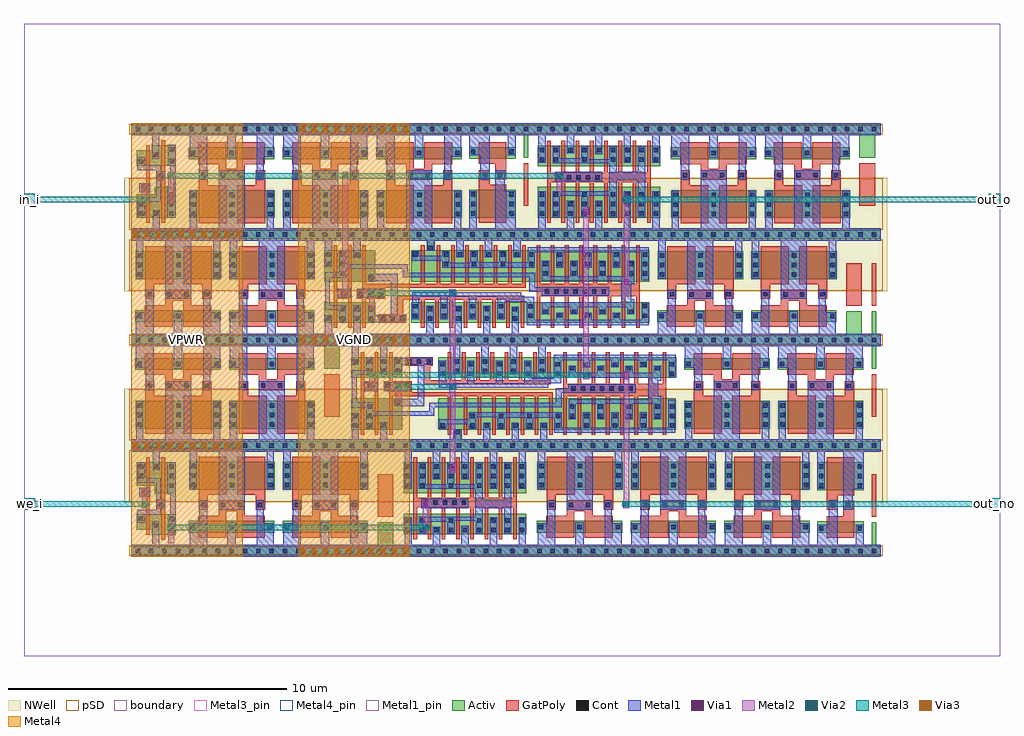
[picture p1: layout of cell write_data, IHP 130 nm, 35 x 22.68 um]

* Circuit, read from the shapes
.subckt write_data VGND VPWR in_i out_no out_o we_i
XM1 VGND VPWR VGND VGND sg13_lv_nmos w=0.42u l=1u m=38
XM2 VGND we_i n1 VGND sg13_lv_nmos w=0.55u l=0.13u
XM3 VGND in_i n2 VGND sg13_lv_nmos w=0.55u l=0.13u
XM4 sg13cmos5l_inv_8$1_28/A n1 VGND VGND sg13_lv_nmos w=0.74u l=0.13u
XM5 sg13cmos5l_ebufn_8_33/A n2 VGND VGND sg13_lv_nmos w=0.74u l=0.13u
XM6 n3 sg13cmos5l_ebufn_8_33/A VGND VGND sg13_lv_nmos w=0.74u l=0.13u m=2
XM7 n4 sg13cmos5l_ebufn_8_32/A VGND VGND sg13_lv_nmos w=0.74u l=0.13u m=2
XM8 n5 sg13cmos5l_ebufn_8_32/TE_B VGND VGND sg13_lv_nmos w=0.74u l=0.13u
XM9 n6 sg13cmos5l_ebufn_8_32/TE_B VGND VGND sg13_lv_nmos w=0.74u l=0.13u
XM10 sg13cmos5l_ebufn_8_32/TE_B sg13cmos5l_inv_8$1_28/A VGND VGND sg13_lv_nmos w=0.74u l=0.13u m=8
XM11 VGND n5 n7 VGND sg13_lv_nmos w=0.74u l=0.13u m=8
XM12 VGND n6 n8 VGND sg13_lv_nmos w=0.74u l=0.13u m=8
XM13 out_o n3 n7 VGND sg13_lv_nmos w=0.74u l=0.13u m=8
XM14 sg13cmos5l_ebufn_8_32/A sg13cmos5l_ebufn_8_33/A VGND VGND sg13_lv_nmos w=0.74u l=0.13u m=8
XM15 out_no n4 n8 VGND sg13_lv_nmos w=0.74u l=0.13u m=8
XM16 VPWR VGND VPWR VPWR sg13_lv_pmos w=1u l=1u m=38
XM17 VPWR we_i n1 VPWR sg13_lv_pmos w=0.84u l=0.13u
XM18 VPWR in_i n2 VPWR sg13_lv_pmos w=0.84u l=0.13u
XM19 sg13cmos5l_inv_8$1_28/A n1 VPWR VPWR sg13_lv_pmos w=1.12u l=0.13u
XM20 sg13cmos5l_ebufn_8_33/A n2 VPWR VPWR sg13_lv_pmos w=1.12u l=0.13u
XM21 n3 sg13cmos5l_ebufn_8_33/A VPWR VPWR sg13_lv_pmos w=1.12u l=0.13u m=2
XM22 n4 sg13cmos5l_ebufn_8_32/A VPWR VPWR sg13_lv_pmos w=1.12u l=0.13u m=2
XM23 n5 sg13cmos5l_ebufn_8_32/TE_B VPWR VPWR sg13_lv_pmos w=1.12u l=0.13u
XM24 n6 sg13cmos5l_ebufn_8_32/TE_B VPWR VPWR sg13_lv_pmos w=1.12u l=0.13u
XM25 sg13cmos5l_ebufn_8_32/TE_B sg13cmos5l_inv_8$1_28/A VPWR VPWR sg13_lv_pmos w=1.12u l=0.13u m=8
XM26 VPWR sg13cmos5l_ebufn_8_32/TE_B n9 VPWR sg13_lv_pmos w=1.12u l=0.13u m=8
XM27 VPWR sg13cmos5l_ebufn_8_32/TE_B n10 VPWR sg13_lv_pmos w=1.12u l=0.13u m=8
XM28 out_o n3 n9 VPWR sg13_lv_pmos w=1.12u l=0.13u m=8
XM29 sg13cmos5l_ebufn_8_32/A sg13cmos5l_ebufn_8_33/A VPWR VPWR sg13_lv_pmos w=1.12u l=0.13u m=8
XM30 out_no n4 n10 VPWR sg13_lv_pmos w=1.12u l=0.13u m=8
.ends

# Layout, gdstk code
from math import pi, radians
import gdstk
lib = gdstk.Library(unit=1e-6, precision=1e-09)
def R(c, l, rs):  # rectangles x0, y0, x1, y1
    for r in rs: c.add(gdstk.rectangle(r[:2], r[2:], *l))
def A(c, l, x, y, w, h, nx, ny, dx, dy):  # array of equal rectangles
    R(c, l, [(x+i*dx, y+j*dy, x+i*dx+w, y+j*dy+h) for i in range(nx) for j in range(ny)])
def P(c, l, *ps):  # polygons
    for p in ps: c.add(gdstk.Polygon(p, *l))
Activ = (1, 0)
GatPoly = (5, 0)
Cont = (6, 0)
Metal1 = (8, 0)
Metal1_pin = (8, 2)
Metal2 = (10, 0)
pSD = (14, 0)
Via1 = (19, 0)
Via2 = (29, 0)
Metal3 = (30, 0)
Metal3_pin = (30, 2)
NWell = (31, 0)
Via3 = (49, 0)
Metal4 = (50, 0)
Metal4_pin = (50, 2)
boundary = (189, 4)

sg13cmos5l_decap_8_2 = lib.new_cell('sg13cmos5l_decap_8$2')
R(sg13cmos5l_decap_8_2, Activ, [(0,-0.15,3.36,0.15), (0.155,0.65,3.215,1.07), (0.165,2.185,3.225,3.185), (0,3.63,3.36,3.93)])
P(sg13cmos5l_decap_8_2, GatPoly, [(0.495,0.47),(0.495,1.25),(1.22,1.25),(1.22,1.805),(2.155,1.805),(2.155,1.25),(2.875,1.25),(2.875,0.47),(1.875,0.47),(1.875,1.415),(1.495,1.415),(1.495,0.47)],
  [(2.555,1.48),(2.555,2.005),(1.885,2.005),(1.885,3.365),(2.885,3.365),(2.885,1.48)],
  [(0.505,1.48),(0.505,3.365),(1.505,3.365),(1.505,2.005),(0.835,2.005),(0.835,1.48)])
A(sg13cmos5l_decap_8_2, Cont, 0.16, -0.08, 0.16, 0.16, 7, 2, 0.48, 3.78)
A(sg13cmos5l_decap_8_2, Cont, 0.225, 0.78, 0.16, 0.16, 3, 1, 1.38, 0)
A(sg13cmos5l_decap_8_2, Cont, 0.235, 2.275, 0.16, 0.16, 3, 3, 1.38, 0.34)
R(sg13cmos5l_decap_8_2, Cont, [(1.3,1.555,1.46,1.715), (1.905,1.555,2.065,1.715), (0.59,1.56,0.75,1.72), (2.63,1.56,2.79,1.72)])
P(sg13cmos5l_decap_8_2, Metal1, [(0,-0.22),(0,0.22),(0.175,0.22),(0.175,0.99),(0.52,0.99),(0.52,1.81),(0.81,1.81),(0.81,0.22),(1.53,0.22),(1.53,1.03),(1.835,1.03),(1.835,0.22),(2.585,0.22),(2.585,1.81),(2.835,1.81),(2.835,0.99),(3.195,0.99),(3.195,0.22),(3.36,0.22),(3.36,-0.22)],
  [(1.22,1.475),(1.22,3.56),(0.445,3.56),(0.445,2.205),(0.185,2.205),(0.185,3.56),(0,3.56),(0,4),(3.36,4),(3.36,3.56),(3.205,3.56),(3.205,2.21),(2.945,2.21),(2.945,3.56),(2.155,3.56),(2.155,1.475)])
R(sg13cmos5l_decap_8_2, Metal1_pin, [(0,-0.22,3.36,0.22), (0,3.56,3.36,4)])
R(sg13cmos5l_decap_8_2, pSD, [(-0.07,-0.18,3.43,0.18), (-0.07,1.76,3.43,3.6)])
R(sg13cmos5l_decap_8_2, NWell, [(-0.24,1.75,3.6,4.17)])
R(sg13cmos5l_decap_8_2, boundary, [(0,0,3.36,3.78)])
sg13cmos5l_decap_8_2.add(gdstk.Label('VDD', (1.68,3.78), layer=8, texttype=25))
sg13cmos5l_decap_8_2.add(gdstk.Label('VSS', (1.68,0), layer=8, texttype=25))

sg13cmos5l_fill_2_2 = lib.new_cell('sg13cmos5l_fill_2$2')
R(sg13cmos5l_fill_2_2, Activ, [(0,-0.15,0.96,0.15), (0.2,0.15,0.76,1.03), (0,3.63,0.96,3.93)])
R(sg13cmos5l_fill_2_2, GatPoly, [(0.2,1.23,0.76,2.75)])
R(sg13cmos5l_fill_2_2, Cont, [(0.16,-0.08,0.32,0.08), (0.16,-0.08,0.32,0.08), (0.64,-0.08,0.8,0.08), (0.64,-0.08,0.8,0.08), (0.16,3.7,0.32,3.86), (0.16,3.7,0.32,3.86), (0.64,3.7,0.8,3.86), (0.64,3.7,0.8,3.86)])
R(sg13cmos5l_fill_2_2, Metal1, [(0,-0.22,0.96,0.22), (0,3.56,0.96,4)])
R(sg13cmos5l_fill_2_2, Metal1_pin, [(0,-0.22,0.96,0.22), (0,3.56,0.96,4)])
R(sg13cmos5l_fill_2_2, pSD, [(-0.07,-0.18,1.03,0.18), (-0.07,1.76,1.03,3.6)])
R(sg13cmos5l_fill_2_2, NWell, [(-0.24,1.75,1.2,4.17)])
R(sg13cmos5l_fill_2_2, boundary, [(0,0,0.96,3.78)])
sg13cmos5l_fill_2_2.add(gdstk.Label('VSS', (0.49,0), layer=8, texttype=25))
sg13cmos5l_fill_2_2.add(gdstk.Label('VDD', (0.495,3.78), layer=8, texttype=25))

sg13cmos5l_decap_4_2 = lib.new_cell('sg13cmos5l_decap_4$2')
R(sg13cmos5l_decap_4_2, Activ, [(0,-0.15,1.92,0.15), (0.12,0.645,1.8,1.065), (0.12,2.18,1.8,3.18), (0,3.63,1.92,3.93)])
P(sg13cmos5l_decap_4_2, GatPoly, [(0.46,1.475),(0.46,3.36),(1.46,3.36),(1.46,2),(0.855,2),(0.855,1.475)],
  [(0.46,0.465),(0.46,1.245),(1.065,1.245),(1.065,1.8),(1.46,1.8),(1.46,0.465)])
A(sg13cmos5l_decap_4_2, Cont, 0.16, -0.08, 0.16, 0.16, 4, 2, 0.48, 3.78)
A(sg13cmos5l_decap_4_2, Cont, 0.19, 2.27, 0.16, 0.16, 1, 3, 0, 0.34)
A(sg13cmos5l_decap_4_2, Cont, 1.57, 2.27, 0.16, 0.16, 1, 3, 0, 0.34)
R(sg13cmos5l_decap_4_2, Cont, [(0.19,0.72,0.35,0.88), (1.57,0.72,1.73,0.88), (1.15,1.555,1.31,1.715), (0.61,1.56,0.77,1.72)])
P(sg13cmos5l_decap_4_2, Metal1, [(0,-0.22),(0,0.22),(0.13,0.22),(0.13,0.935),(0.53,0.935),(0.53,1.805),(0.855,1.805),(0.855,0.22),(1.51,0.22),(1.51,0.935),(1.79,0.935),(1.79,0.22),(1.92,0.22),(1.92,-0.22)],
  [(1.065,1.47),(1.065,3.56),(0.4,3.56),(0.4,2.22),(0.13,2.22),(0.13,3.56),(0,3.56),(0,4),(1.92,4),(1.92,3.56),(1.79,3.56),(1.79,2.22),(1.405,2.22),(1.405,1.47)])
R(sg13cmos5l_decap_4_2, Metal1_pin, [(0,-0.22,1.92,0.22), (0,3.56,1.92,4)])
R(sg13cmos5l_decap_4_2, pSD, [(-0.07,-0.18,1.99,0.18), (-0.16,1.76,1.99,3.6)])
R(sg13cmos5l_decap_4_2, NWell, [(-0.24,1.75,2.16,4.17)])
R(sg13cmos5l_decap_4_2, boundary, [(0,0,1.92,3.78)])
sg13cmos5l_decap_4_2.add(gdstk.Label('VDD', (0.95,3.78), layer=8, texttype=25))
sg13cmos5l_decap_4_2.add(gdstk.Label('VSS', (1.08,0), layer=8, texttype=25))

sg13cmos5l_fill_1_2 = lib.new_cell('sg13cmos5l_fill_1$2')
R(sg13cmos5l_fill_1_2, Activ, [(0,-0.15,0.48,0.15), (0.16,0.15,0.32,1.03), (0,3.63,0.48,3.93)])
R(sg13cmos5l_fill_1_2, GatPoly, [(0.16,1.23,0.32,2.75)])
R(sg13cmos5l_fill_1_2, Cont, [(0.16,-0.08,0.32,0.08), (0.16,-0.08,0.32,0.08), (0.16,3.7,0.32,3.86), (0.16,3.7,0.32,3.86)])
R(sg13cmos5l_fill_1_2, Metal1, [(0,-0.22,0.48,0.22), (0,3.56,0.48,4)])
R(sg13cmos5l_fill_1_2, Metal1_pin, [(0,-0.22,0.48,0.22), (0,3.56,0.48,4)])
R(sg13cmos5l_fill_1_2, pSD, [(-0.07,-0.18,0.55,0.18), (-0.07,1.76,0.55,3.6)])
R(sg13cmos5l_fill_1_2, NWell, [(-0.24,1.75,0.72,4.17)])
R(sg13cmos5l_fill_1_2, boundary, [(0,0,0.48,3.78)])
sg13cmos5l_fill_1_2.add(gdstk.Label('VDD', (0.245,3.785), layer=8, texttype=25))
sg13cmos5l_fill_1_2.add(gdstk.Label('VSS', (0.255,0), layer=8, texttype=25))

sg13cmos5l_inv_8_1 = lib.new_cell('sg13cmos5l_inv_8$1')
R(sg13cmos5l_inv_8_1, Activ, [(0,-0.15,4.8,0.15), (0.185,0.59,4.575,1.33), (0.185,2.06,4.575,3.18), (0,3.63,4.8,3.93)])
P(sg13cmos5l_inv_8_1, GatPoly, [(0.525,0.41),(0.525,3.36),(0.655,3.36),(0.655,1.9),(1.035,1.9),(1.035,3.36),(1.165,3.36),(1.165,1.9),(1.545,1.9),(1.545,3.36),(1.675,3.36),(1.675,1.9),(2.055,1.9),(2.055,3.36),(2.185,3.36),(2.185,1.9),(2.565,1.9),(2.565,3.36),(2.695,3.36),(2.695,1.9),(3.075,1.9),(3.075,3.36),(3.205,3.36),(3.205,1.9),(3.585,1.9),(3.585,3.36),(3.715,3.36),(3.715,1.9),(4.105,1.9),(4.105,3.36),(4.235,3.36),(4.235,0.41),(4.105,0.41),(4.105,1.57),(3.715,1.57),(3.715,0.41),(3.585,0.41),(3.585,1.57),(3.205,1.57),(3.205,0.41),(3.075,0.41),(3.075,1.57),(2.695,1.57),(2.695,0.41),(2.565,0.41),(2.565,1.57),(2.185,1.57),(2.185,0.41),(2.055,0.41),(2.055,1.57),(1.675,1.57),(1.675,0.41),(1.545,0.41),(1.545,1.57),(1.165,1.57),(1.165,0.41),(1.035,0.41),(1.035,1.57),(0.655,1.57),(0.655,0.41)])
A(sg13cmos5l_inv_8_1, Cont, 0.255, 0.66, 0.16, 0.16, 8, 2, 0.51, 1.95)
A(sg13cmos5l_inv_8_1, Cont, 0.765, 1, 0.16, 0.16, 3, 2, 1.02, 1.27)
A(sg13cmos5l_inv_8_1, Cont, 0.89, 1.655, 0.16, 0.16, 5, 1, 0.34, 0)
A(sg13cmos5l_inv_8_1, Cont, 4.345, 2.27, 0.16, 0.16, 1, 3, 0, 0.34)
A(sg13cmos5l_inv_8_1, Cont, 0.255, 2.95, 0.16, 0.16, 8, 1, 0.51, 0)
R(sg13cmos5l_inv_8_1, Cont, [(0.16,-0.08,0.32,0.08), (0.16,-0.08,0.32,0.08), (0.64,-0.08,0.8,0.08), (0.64,-0.08,0.8,0.08), (1.12,-0.08,1.28,0.08), (1.12,-0.08,1.28,0.08), (1.6,-0.08,1.76,0.08), (1.6,-0.08,1.76,0.08), (2.08,-0.08,2.24,0.08), (2.08,-0.08,2.24,0.08), (2.56,-0.08,2.72,0.08), (2.56,-0.08,2.72,0.08), (3.04,-0.08,3.2,0.08), (3.04,-0.08,3.2,0.08), (3.52,-0.08,3.68,0.08), (3.52,-0.08,3.68,0.08), (4,-0.08,4.16,0.08), (4,-0.08,4.16,0.08), (4.48,-0.08,4.64,0.08), (4.48,-0.08,4.64,0.08), (4.345,0.66,4.505,0.82), (0.255,1,0.415,1.16), (3.315,1,3.475,1.16), (3.825,1,3.985,1.16), (4.345,1,4.505,1.16), (0.255,2.27,0.415,2.43), (3.315,2.27,3.475,2.43), (3.825,2.27,3.985,2.43), (0.16,3.7,0.32,3.86), (0.16,3.7,0.32,3.86), (0.64,3.7,0.8,3.86), (0.64,3.7,0.8,3.86), (1.12,3.7,1.28,3.86), (1.12,3.7,1.28,3.86), (1.6,3.7,1.76,3.86), (1.6,3.7,1.76,3.86), (2.08,3.7,2.24,3.86), (2.08,3.7,2.24,3.86), (2.56,3.7,2.72,3.86), (2.56,3.7,2.72,3.86), (3.04,3.7,3.2,3.86), (3.04,3.7,3.2,3.86), (3.52,3.7,3.68,3.86), (3.52,3.7,3.68,3.86), (4,3.7,4.16,3.86), (4,3.7,4.16,3.86), (4.48,3.7,4.64,3.86), (4.48,3.7,4.64,3.86)])
R(sg13cmos5l_inv_8_1, Metal1, [(0.805,1.535,2.495,1.865)])
P(sg13cmos5l_inv_8_1, Metal1, [(0,-0.22),(0,0.22),(0.205,0.22),(0.205,1.21),(0.465,1.21),(0.465,0.22),(1.225,0.22),(1.225,0.87),(1.485,0.87),(1.485,0.22),(2.245,0.22),(2.245,0.89),(2.505,0.89),(2.505,0.22),(3.265,0.22),(3.265,1.21),(3.525,1.21),(3.525,0.22),(4.295,0.22),(4.295,1.21),(4.555,1.21),(4.555,0.22),(4.8,0.22),(4.8,-0.22)],
  [(0.205,2.22),(0.205,3.56),(0,3.56),(0,4),(4.8,4),(4.8,3.56),(4.555,3.56),(4.555,2.22),(4.295,2.22),(4.295,3.56),(3.525,3.56),(3.525,2.22),(3.265,2.22),(3.265,3.56),(2.505,3.56),(2.505,2.56),(2.245,2.56),(2.245,3.56),(1.485,3.56),(1.485,2.56),(1.225,2.56),(1.225,3.56),(0.465,3.56),(0.465,2.22)],
  [(1.735,0.61),(1.735,1.05),(0.98,1.05),(0.98,0.62),(0.715,0.62),(0.715,1.23),(2.74,1.23),(2.74,2.22),(0.715,2.22),(0.715,3.16),(0.975,3.16),(0.975,2.38),(1.735,2.38),(1.735,3.16),(1.995,3.16),(1.995,2.38),(2.755,2.38),(2.755,3.16),(3.015,3.16),(3.015,1.84),(3.775,1.84),(3.775,3.16),(4.035,3.16),(4.035,0.61),(3.775,0.61),(3.775,1.53),(3.015,1.53),(3.015,0.61),(2.755,0.61),(2.755,1.07),(2,1.07),(2,0.61)])
R(sg13cmos5l_inv_8_1, Metal1_pin, [(0,-0.22,4.8,0.22), (2.74,1.53,4.035,1.84), (0.805,1.57,2.495,1.865), (0,3.56,4.8,4)])
R(sg13cmos5l_inv_8_1, pSD, [(-0.07,-0.18,4.87,0.18), (-0.07,1.76,4.87,3.6)])
R(sg13cmos5l_inv_8_1, NWell, [(-0.24,1.75,5.04,4.17)])
R(sg13cmos5l_inv_8_1, boundary, [(0,0,4.8,3.78)])
sg13cmos5l_inv_8_1.add(gdstk.Label('Y', (3.65,1.64), layer=8, texttype=25))
sg13cmos5l_inv_8_1.add(gdstk.Label('A', (1.925,1.685), layer=8, texttype=25))
sg13cmos5l_inv_8_1.add(gdstk.Label('VSS', (2.31,-0.02), layer=8, texttype=25))
sg13cmos5l_inv_8_1.add(gdstk.Label('VDD', (2.71,3.78), layer=8, texttype=25))

sg13cmos5l_buf_1_2 = lib.new_cell('sg13cmos5l_buf_1$2')
R(sg13cmos5l_buf_1_2, Activ, [(0,-0.15,1.92,0.15), (0,3.63,1.92,3.93)])
P(sg13cmos5l_buf_1_2, Activ, [(0.74,0.57),(0.74,0.76),(0.2,0.76),(0.2,1.31),(1.61,1.31),(1.61,0.57)],
  [(0.84,2.06),(0.84,2.34),(0.2,2.34),(0.2,3.18),(1.595,3.18),(1.595,2.06)])
P(sg13cmos5l_buf_1_2, GatPoly, [(1.09,0.39),(1.09,1.5),(0.92,1.5),(0.92,1.83),(1.09,1.83),(1.09,3.36),(1.22,3.36),(1.22,0.39)],
  [(0.54,0.58),(0.54,1.93),(0.365,1.93),(0.365,2.23),(0.54,2.23),(0.54,3.36),(0.67,3.36),(0.67,0.58)])
A(sg13cmos5l_buf_1_2, Cont, 0.16, -0.08, 0.16, 0.16, 4, 2, 0.48, 3.78)
A(sg13cmos5l_buf_1_2, Cont, 1.365, 2.27, 0.16, 0.16, 1, 3, 0, 0.34)
R(sg13cmos5l_buf_1_2, Cont, [(1.38,0.65,1.54,0.81), (0.82,0.85,0.98,1.01), (1.38,1.065,1.54,1.225), (0.27,1.075,0.43,1.235), (0.99,1.585,1.15,1.745), (0.435,2,0.595,2.16), (0.27,2.61,0.43,2.77), (0.27,2.95,0.43,3.11), (0.82,2.95,0.98,3.11)])
R(sg13cmos5l_buf_1_2, Metal1, [(0.285,1.93,0.68,2.26)])
P(sg13cmos5l_buf_1_2, Metal1, [(0.215,1),(0.215,1.465),(0.9,1.465),(0.9,2.44),(0.24,2.44),(0.24,3.18),(0.51,3.18),(0.51,2.62),(1.07,2.62),(1.07,1.83),(1.225,1.83),(1.225,1.5),(1.07,1.5),(1.07,1.29),(0.515,1.29),(0.515,1)],
  [(1.31,0.55),(1.31,1.29),(1.41,1.29),(1.41,2.02),(1.3,2.02),(1.3,3.18),(1.6,3.18),(1.6,0.55)],
  [(0,-0.22),(0,0.22),(0.765,0.22),(0.765,1.07),(1.015,1.07),(1.015,0.22),(1.92,0.22),(1.92,-0.22)],
  [(0.77,2.89),(0.77,3.56),(0,3.56),(0,4),(1.92,4),(1.92,3.56),(1.03,3.56),(1.03,2.89)])
R(sg13cmos5l_buf_1_2, Metal1_pin, [(0,-0.22,1.92,0.22), (0.285,1.93,0.68,2.26), (1.315,2.07,1.58,2.945), (1.315,2.07,1.58,2.945), (0,3.56,1.92,4)])
R(sg13cmos5l_buf_1_2, pSD, [(-0.065,-0.18,1.99,0.18), (-0.065,1.76,1.99,3.6)])
R(sg13cmos5l_buf_1_2, NWell, [(-0.24,1.75,2.16,4.17)])
R(sg13cmos5l_buf_1_2, boundary, [(0,0,1.92,3.78)])
sg13cmos5l_buf_1_2.add(gdstk.Label('X', (1.45,2.51), layer=8, texttype=25))
sg13cmos5l_buf_1_2.add(gdstk.Label('A', (0.53,2.1), layer=8, texttype=25))
sg13cmos5l_buf_1_2.add(gdstk.Label('VSS', (0.98,-0.01), layer=8, texttype=25))
sg13cmos5l_buf_1_2.add(gdstk.Label('VDD', (1.07,3.83), layer=8, texttype=25))

sg13cmos5l_ebufn_8 = lib.new_cell('sg13cmos5l_ebufn_8')
R(sg13cmos5l_ebufn_8, Activ, [(0,-0.15,12,0.15), (0.135,0.62,8.665,1.36), (9.96,0.62,11.79,1.36), (9.96,2.09,11.79,3.21)])
P(sg13cmos5l_ebufn_8, Activ, [(0.14,2.09),(0.14,3.21),(7.825,3.21),(7.825,3.63),(0,3.63),(0,3.93),(12,3.93),(12,3.63),(8.125,3.63),(8.125,3.21),(8.665,3.21),(8.665,2.09)])
P(sg13cmos5l_ebufn_8, GatPoly, [(10.81,0.44),(10.81,3.39),(10.94,3.39),(10.94,1.8),(11.32,1.8),(11.32,3.39),(11.45,3.39),(11.45,0.44),(11.32,0.44),(11.32,1.485),(10.94,1.485),(10.94,0.44)],
  [(10.3,0.44),(10.3,1.485),(9.61,1.485),(9.61,1.865),(4.56,1.865),(4.56,3.39),(4.69,3.39),(4.69,2.015),(5.07,2.015),(5.07,3.39),(5.2,3.39),(5.2,2.015),(5.58,2.015),(5.58,3.39),(5.71,3.39),(5.71,2.015),(6.095,2.015),(6.095,3.39),(6.225,3.39),(6.225,2.015),(6.605,2.015),(6.605,3.39),(6.735,3.39),(6.735,2.015),(7.115,2.015),(7.115,3.39),(7.245,3.39),(7.245,2.015),(7.625,2.015),(7.625,3.39),(7.755,3.39),(7.755,2.015),(8.195,2.015),(8.195,3.39),(8.325,3.39),(8.325,2.015),(10.3,2.015),(10.3,3.39),(10.43,3.39),(10.43,1.8),(10.625,1.8),(10.625,1.485),(10.43,1.485),(10.43,0.44)],
  [(4.625,0.44),(4.625,1.585),(9.19,1.585),(9.19,0.92),(9.84,0.92),(9.84,0.62),(8.855,0.62),(8.855,0.92),(8.955,0.92),(8.955,1.435),(8.325,1.435),(8.325,0.44),(8.195,0.44),(8.195,1.435),(7.815,1.435),(7.815,0.44),(7.685,0.44),(7.685,1.435),(7.305,1.435),(7.305,0.44),(7.175,0.44),(7.175,1.435),(6.795,1.435),(6.795,0.44),(6.665,0.44),(6.665,1.435),(6.285,1.435),(6.285,0.44),(6.155,0.44),(6.155,1.435),(5.775,1.435),(5.775,0.44),(5.645,0.44),(5.645,1.435),(5.265,1.435),(5.265,0.44),(5.135,0.44),(5.135,1.435),(4.755,1.435),(4.755,0.44)],
  [(0.48,0.44),(0.48,3.39),(0.61,3.39),(0.61,2.015),(0.99,2.015),(0.99,3.39),(1.12,3.39),(1.12,2.015),(1.5,2.015),(1.5,3.39),(1.63,3.39),(1.63,2.015),(2.01,2.015),(2.01,3.39),(2.14,3.39),(2.14,2.015),(2.52,2.015),(2.52,3.39),(2.65,3.39),(2.65,2.015),(3.03,2.015),(3.03,3.39),(3.16,3.39),(3.16,2.015),(3.54,2.015),(3.54,3.39),(3.67,3.39),(3.67,2.015),(4.05,2.015),(4.05,3.39),(4.18,3.39),(4.18,0.44),(4.05,0.44),(4.05,1.57),(3.67,1.57),(3.67,0.44),(3.54,0.44),(3.54,1.57),(3.16,1.57),(3.16,0.44),(3.03,0.44),(3.03,1.57),(2.65,1.57),(2.65,0.44),(2.52,0.44),(2.52,1.57),(2.14,1.57),(2.14,0.44),(2.01,0.44),(2.01,1.57),(1.63,1.57),(1.63,0.44),(1.5,0.44),(1.5,1.57),(1.12,1.57),(1.12,0.44),(0.99,0.44),(0.99,1.57),(0.61,1.57),(0.61,0.44)])
A(sg13cmos5l_ebufn_8, Cont, 0.16, -0.08, 0.16, 0.16, 25, 2, 0.48, 3.78)
A(sg13cmos5l_ebufn_8, Cont, 4.865, 0.69, 0.16, 0.16, 4, 2, 1.02, 0.34)
A(sg13cmos5l_ebufn_8, Cont, 10.03, 0.69, 0.16, 0.16, 4, 1, 0.51, 0)
A(sg13cmos5l_ebufn_8, Cont, 5.375, 0.79, 0.16, 0.16, 4, 2, 1.02, 0.34)
A(sg13cmos5l_ebufn_8, Cont, 0.72, 0.93, 0.16, 0.16, 4, 2, 1.02, 1.37)
A(sg13cmos5l_ebufn_8, Cont, 10.03, 1.03, 0.16, 0.16, 3, 1, 0.51, 0)
A(sg13cmos5l_ebufn_8, Cont, 9.715, 1.555, 0.16, 0.16, 3, 1, 0.34, 0)
A(sg13cmos5l_ebufn_8, Cont, 1.69, 1.655, 0.16, 0.16, 7, 1, 0.34, 0)
A(sg13cmos5l_ebufn_8, Cont, 0.21, 2.64, 0.16, 0.16, 9, 1, 0.51, 0)
A(sg13cmos5l_ebufn_8, Cont, 0.21, 2.98, 0.16, 0.16, 5, 1, 1.02, 0)
A(sg13cmos5l_ebufn_8, Cont, 4.8, 2.98, 0.16, 0.16, 3, 1, 0.51, 0)
A(sg13cmos5l_ebufn_8, Cont, 6.335, 2.98, 0.16, 0.16, 3, 1, 0.51, 0)
A(sg13cmos5l_ebufn_8, Cont, 10.54, 2.98, 0.16, 0.16, 3, 1, 0.51, 0)
R(sg13cmos5l_ebufn_8, Cont, [(8.925,0.69,9.085,0.85), (9.27,0.69,9.43,0.85), (9.61,0.69,9.77,0.85), (0.205,0.79,0.365,0.95), (4.31,0.79,4.47,0.95), (1.23,0.8,1.39,0.96), (2.25,0.815,2.41,0.975), (3.27,0.815,3.43,0.975), (0.205,1.13,0.365,1.29), (4.31,1.13,4.47,1.29), (11.025,1.555,11.185,1.715), (10.03,2.16,10.19,2.32), (0.21,2.3,0.37,2.46), (11.05,2.3,11.21,2.46), (5.31,2.64,5.47,2.8), (6.335,2.64,6.495,2.8), (7.355,2.64,7.515,2.8), (11.05,2.64,11.21,2.8), (11.56,2.64,11.72,2.8), (8.435,2.98,8.595,3.14), (7.895,3.22,8.055,3.38)])
R(sg13cmos5l_ebufn_8, Metal1, [(9.665,1.51,10.605,1.835), (10.84,1.51,11.335,1.835)])
P(sg13cmos5l_ebufn_8, Metal1, [(8.875,0.64),(8.875,0.885),(9.165,0.885),(9.165,2.38),(10.24,2.38),(10.24,2.1),(9.4,2.1),(9.4,0.885),(9.98,0.885),(9.98,1.24),(10.24,1.24),(10.24,0.64)],
  [(0,-0.22),(0,0.22),(4.815,0.22),(4.815,1.2),(5.075,1.2),(5.075,0.22),(5.835,0.22),(5.835,1.225),(6.095,1.225),(6.095,0.22),(6.855,0.22),(6.855,1.225),(7.115,1.225),(7.115,0.22),(7.875,0.22),(7.875,1.225),(8.135,1.225),(8.135,0.22),(10.49,0.22),(10.49,1.24),(10.75,1.24),(10.75,0.22),(11.51,0.22),(11.51,0.9),(11.77,0.9),(11.77,0.22),(12,0.22),(12,-0.22)],
  [(11.51,2.62),(11.51,3.56),(10.75,3.56),(10.75,2.93),(10.49,2.93),(10.49,3.56),(8.105,3.56),(8.105,3.205),(7.84,3.205),(7.84,3.56),(7.055,3.56),(7.055,2.96),(6.795,2.96),(6.795,3.56),(6.03,3.56),(6.03,2.96),(5.77,2.96),(5.77,3.56),(5.01,3.56),(5.01,2.97),(4.75,2.97),(4.75,3.56),(0,3.56),(0,4),(12,4),(12,3.56),(11.77,3.56),(11.77,2.62)],
  [(11,0.64),(11,1.24),(11.59,1.24),(11.59,2.24),(11,2.24),(11,2.56),(8.985,2.56),(8.985,2.25),(4.445,2.25),(4.445,1.73),(3.995,1.73),(3.995,1.585),(1.58,1.585),(1.58,1.9),(4.235,1.9),(4.235,2.41),(8.805,2.41),(8.805,2.725),(11,2.725),(11,3.19),(11.26,3.19),(11.26,2.44),(11.765,2.44),(11.765,1.08),(11.26,1.08),(11.26,0.64)],
  [(0.16,2.15),(0.16,3.325),(4.5,3.325),(4.5,2.78),(5.26,2.78),(5.26,3.19),(5.52,3.19),(5.52,2.78),(6.285,2.78),(6.285,3.19),(6.55,3.19),(6.55,2.775),(7.305,2.775),(7.305,3.19),(7.565,3.19),(7.565,3.02),(8.385,3.02),(8.385,3.19),(8.645,3.19),(8.645,2.84),(7.565,2.84),(7.565,2.59),(4.24,2.59),(4.24,3.155),(3.48,3.155),(3.48,2.59),(3.22,2.59),(3.22,3.155),(2.46,3.155),(2.46,2.59),(2.2,2.59),(2.2,3.155),(1.44,3.155),(1.44,2.59),(1.18,2.59),(1.18,3.155),(0.42,3.155),(0.42,2.15)],
  [(0.15,0.53),(0.15,1.34),(0.405,1.34),(0.405,0.73),(1.18,0.73),(1.18,0.975),(1.44,0.975),(1.44,0.73),(2.2,0.73),(2.2,0.985),(2.46,0.985),(2.46,0.73),(3.22,0.73),(3.22,0.985),(3.48,0.985),(3.48,0.73),(4.26,0.73),(4.26,1.55),(4.72,1.55),(4.72,1.72),(8.645,1.72),(8.645,0.74),(8.385,0.74),(8.385,1.55),(7.625,1.55),(7.625,0.74),(7.365,0.74),(7.365,1.55),(6.605,1.55),(6.605,0.74),(6.345,0.74),(6.345,1.55),(5.585,1.55),(5.585,0.74),(5.325,0.74),(5.325,1.38),(4.525,1.38),(4.525,0.53)],
  [(3.73,0.915),(3.73,1.17),(2.97,1.17),(2.97,0.92),(2.71,0.92),(2.71,1.17),(1.95,1.17),(1.95,0.92),(1.685,0.92),(1.685,1.17),(0.93,1.17),(0.93,0.92),(0.67,0.92),(0.67,1.465),(0.78,1.465),(0.78,2.02),(0.67,2.02),(0.67,2.85),(0.93,2.85),(0.93,2.295),(1.69,2.295),(1.69,2.85),(1.95,2.85),(1.95,2.295),(2.71,2.295),(2.71,2.85),(2.97,2.85),(2.97,2.29),(3.73,2.29),(3.73,2.85),(3.99,2.85),(3.99,2.12),(1.14,2.12),(1.14,1.36),(3.99,1.36),(3.99,0.915)])
R(sg13cmos5l_ebufn_8, Metal1_pin, [(0,-0.22,12,0.22), (0.78,1.36,1.14,2.295), (9.665,1.51,10.605,1.835), (10.84,1.51,11.335,1.835), (0,3.56,12,4)])
R(sg13cmos5l_ebufn_8, pSD, [(-0.07,-0.18,12.07,0.18), (-0.07,1.76,12.07,3.6)])
R(sg13cmos5l_ebufn_8, NWell, [(-0.24,1.75,12.24,4.17)])
R(sg13cmos5l_ebufn_8, boundary, [(0,0,12,3.78)])
sg13cmos5l_ebufn_8.add(gdstk.Label('VDD', (6.01,3.78), layer=8, texttype=25))
sg13cmos5l_ebufn_8.add(gdstk.Label('VSS', (5.745,0), layer=8, texttype=25))
sg13cmos5l_ebufn_8.add(gdstk.Label('Z', (0.96,1.68), layer=8, texttype=25))
sg13cmos5l_ebufn_8.add(gdstk.Label('A', (11.04,1.68), layer=8, texttype=25))
sg13cmos5l_ebufn_8.add(gdstk.Label('TE_B', (10.14,1.635), layer=8, texttype=25))

via_via3_4_4000_440_1_10 = lib.new_cell('VIA_via3_4_4000_440_1_10_410_410$2')
R(via_via3_4_4000_440_1_10, Metal3, [(-1.99,-0.1,1.99,0.1)])
A(via_via3_4_4000_440_1_10, Via3, -1.94, -0.095, 0.19, 0.19, 10, 1, 0.41, 0)
R(via_via3_4_4000_440_1_10, Metal4, [(-2,-0.145,2,0.145)])

via_via2_3_4000_440_1_10 = lib.new_cell('VIA_via2_3_4000_440_1_10_410_410$2')
R(via_via2_3_4000_440_1_10, Metal2, [(-1.945,-0.145,1.945,0.145)])
A(via_via2_3_4000_440_1_10, Via2, -1.94, -0.095, 0.19, 0.19, 10, 1, 0.41, 0)
R(via_via2_3_4000_440_1_10, Metal3, [(-1.99,-0.1,1.99,0.1)])

via_via1_2_4000_440_1_10 = lib.new_cell('VIA_via1_2_4000_440_1_10_410_410$2')
R(via_via1_2_4000_440_1_10, Metal1, [(-1.99,-0.22,1.99,0.22)])
R(via_via1_2_4000_440_1_10, Metal2, [(-1.945,-0.145,1.945,0.145)])
A(via_via1_2_4000_440_1_10, Via1, -1.94, -0.095, 0.19, 0.19, 10, 1, 0.41, 0)

via_via1_xy_2 = lib.new_cell('VIA_Via1_XY$2')
R(via_via1_xy_2, Metal1, [(-0.145,-0.105,0.145,0.105)])
R(via_via1_xy_2, Metal2, [(-0.1,-0.145,0.1,0.145)])
R(via_via1_xy_2, Via1, [(-0.095,-0.095,0.095,0.095)])

via_via2_yx_2 = lib.new_cell('VIA_Via2_YX$2')
R(via_via2_yx_2, Metal2, [(-0.105,-0.145,0.105,0.145)])
R(via_via2_yx_2, Via2, [(-0.095,-0.095,0.095,0.095)])
R(via_via2_yx_2, Metal3, [(-0.145,-0.1,0.145,0.1)])

via_via1_yy_2 = lib.new_cell('VIA_Via1_YY$2')
R(via_via1_yy_2, Metal1, [(-0.105,-0.145,0.105,0.145)])
R(via_via1_yy_2, Metal2, [(-0.1,-0.145,0.1,0.145)])
R(via_via1_yy_2, Via1, [(-0.095,-0.095,0.095,0.095)])

write_data = lib.new_cell('write_data')
R(write_data, Metal2, [(5.18,4.05,5.38,4.62), (4.22,5.305,4.42,5.46), (13.34,9.09,13.54,9.66), (12.38,9.505,12.58,9.66), (12.38,12.45,12.58,13.02), (4.22,16.225,4.42,16.38), (19.1,16.65,19.3,17.22)])
R(write_data, Metal3, [(0,5.26,0.4,5.66), (34.6,5.26,35,5.66), (0,16.18,0.4,16.58), (34.6,16.18,35,16.58)])
R(write_data, Metal3_pin, [(0,5.26,0.4,5.66), (34.6,5.26,35,5.66), (0,16.18,0.4,16.58), (34.6,16.18,35,16.58)])
R(write_data, Metal4, [(3.84,3.56,7.84,19.12), (9.84,3.56,13.84,19.12)])
R(write_data, Metal4_pin, [(3.84,3.56,7.84,19.12), (9.84,3.56,13.84,19.12)])
R(write_data, boundary, [(0,0,35,22.68)])
write_data.add(gdstk.FlexPath([(15.36,6.72),(15.36,9.66)], 0.2, ends="extended", simple_path=True, layer=10, datatype=0))  # Metal2
write_data.add(gdstk.FlexPath([(15.36,9.66),(15.36,13.02)], 0.2, ends="extended", simple_path=True, layer=10, datatype=0))  # Metal2
write_data.add(gdstk.FlexPath([(12.48,9.66),(12.48,10.08)], 0.2, ends="extended", simple_path=True, layer=10, datatype=0))  # Metal2
write_data.add(gdstk.FlexPath([(20.16,10.08),(20.16,15.96)], 0.2, ends="extended", simple_path=True, layer=10, datatype=0))  # Metal2
write_data.add(gdstk.FlexPath([(4.32,16.38),(4.32,16.8)], 0.2, ends="extended", simple_path=True, layer=10, datatype=0))  # Metal2
write_data.add(gdstk.FlexPath([(11.52,13.02),(11.52,17.22)], 0.2, ends="extended", simple_path=True, layer=10, datatype=0))  # Metal2
write_data.add(gdstk.FlexPath([(5.28,16.38),(5.28,17.22)], 0.2, ends="extended", simple_path=True, layer=10, datatype=0))  # Metal2
write_data.add(gdstk.FlexPath([(14.4,4.62),(14.4,5.46)], 0.2, ends="extended", simple_path=True, layer=10, datatype=0))  # Metal2
write_data.add(gdstk.FlexPath([(21.6,5.46),(21.6,10.08)], 0.2, ends="extended", simple_path=True, layer=10, datatype=0))  # Metal2
write_data.add(gdstk.FlexPath([(21.6,13.44),(21.6,16.38)], 0.2, ends="extended", simple_path=True, layer=10, datatype=0))  # Metal2
write_data.add(gdstk.FlexPath([(4.32,5.46),(4.32,5.88)], 0.2, ends="extended", simple_path=True, layer=10, datatype=0))  # Metal2
write_data.add(gdstk.FlexPath([(13.44,9.66),(15.36,9.66)], 0.2, ends="extended", simple_path=True, layer=30, datatype=0))  # Metal3
write_data.add(gdstk.FlexPath([(12.48,13.02),(15.36,13.02)], 0.2, ends="extended", simple_path=True, layer=30, datatype=0))  # Metal3
write_data.add(gdstk.FlexPath([(12.48,10.08),(20.16,10.08)], 0.2, ends="extended", simple_path=True, layer=30, datatype=0))  # Metal3
write_data.add(gdstk.FlexPath([(0.2,16.38),(4.32,16.38)], 0.2, ends=(0, 0.1), simple_path=True, layer=30, datatype=0))  # Metal3
write_data.add(gdstk.FlexPath([(11.52,17.22),(19.2,17.22)], 0.2, ends="extended", simple_path=True, layer=30, datatype=0))  # Metal3
write_data.add(gdstk.FlexPath([(5.28,17.22),(11.52,17.22)], 0.2, ends="extended", simple_path=True, layer=30, datatype=0))  # Metal3
write_data.add(gdstk.FlexPath([(5.28,4.62),(14.4,4.62)], 0.2, ends="extended", simple_path=True, layer=30, datatype=0))  # Metal3
write_data.add(gdstk.FlexPath([(21.6,5.46),(34.8,5.46)], 0.2, ends=(0.1, 0), simple_path=True, layer=30, datatype=0))  # Metal3
write_data.add(gdstk.FlexPath([(21.6,16.38),(34.8,16.38)], 0.2, ends=(0.1, 0), simple_path=True, layer=30, datatype=0))  # Metal3
write_data.add(gdstk.FlexPath([(0.2,5.46),(4.32,5.46)], 0.2, ends=(0, 0.1), simple_path=True, layer=30, datatype=0))  # Metal3
write_data.add(gdstk.FlexPath([(3.84,18.9),(30.72,18.9)], 0.44, ends="flush", simple_path=True, layer=8, datatype=0))  # Metal1
write_data.add(gdstk.FlexPath([(3.84,11.34),(30.72,11.34)], 0.44, ends="flush", simple_path=True, layer=8, datatype=0))  # Metal1
write_data.add(gdstk.FlexPath([(3.84,3.78),(30.72,3.78)], 0.44, ends="flush", simple_path=True, layer=8, datatype=0))  # Metal1
write_data.add(gdstk.FlexPath([(3.84,15.12),(30.72,15.12)], 0.44, ends="flush", simple_path=True, layer=8, datatype=0))  # Metal1
write_data.add(gdstk.FlexPath([(3.84,7.56),(30.72,7.56)], 0.44, ends="flush", simple_path=True, layer=8, datatype=0))  # Metal1
write_data.add(gdstk.FlexPath([(11.84,3.56),(11.84,19.12)], 4, ends="flush", simple_path=True, layer=50, datatype=0))  # Metal4
write_data.add(gdstk.FlexPath([(5.84,3.56),(5.84,19.12)], 4, ends="flush", simple_path=True, layer=50, datatype=0))  # Metal4
write_data.add(gdstk.Reference(sg13cmos5l_decap_8_2, (7.2,11.34)))
write_data.add(gdstk.Reference(sg13cmos5l_decap_8_2, (9.12,3.78)))
write_data.add(gdstk.Reference(sg13cmos5l_decap_8_2, (18.24,3.78)))
write_data.add(gdstk.Reference(sg13cmos5l_decap_8_2, (21.6,3.78)))
write_data.add(gdstk.Reference(sg13cmos5l_decap_8_2, (5.76,3.78)))
write_data.add(gdstk.Reference(sg13cmos5l_decap_8_2, (24.96,3.78)))
write_data.add(gdstk.Reference(sg13cmos5l_decap_8_2, (3.84,11.34)))
write_data.add(gdstk.Reference(sg13cmos5l_decap_8_2, (22.56,11.34)))
write_data.add(gdstk.Reference(sg13cmos5l_decap_8_2, (25.92,11.34)))
write_data.add(gdstk.Reference(sg13cmos5l_decap_8_2, (9.12,18.9), x_reflection=True))
write_data.add(gdstk.Reference(sg13cmos5l_decap_8_2, (23.52,11.34), x_reflection=True))
write_data.add(gdstk.Reference(sg13cmos5l_decap_8_2, (26.88,11.34), x_reflection=True))
write_data.add(gdstk.Reference(sg13cmos5l_decap_8_2, (7.2,11.34), x_reflection=True))
write_data.add(gdstk.Reference(sg13cmos5l_decap_8_2, (12.48,18.9), x_reflection=True))
write_data.add(gdstk.Reference(sg13cmos5l_decap_8_2, (5.76,18.9), x_reflection=True))
write_data.add(gdstk.Reference(sg13cmos5l_decap_8_2, (23.04,18.9), x_reflection=True))
write_data.add(gdstk.Reference(sg13cmos5l_decap_8_2, (26.4,18.9), x_reflection=True))
write_data.add(gdstk.Reference(sg13cmos5l_decap_8_2, (3.84,11.34), x_reflection=True))
write_data.add(gdstk.Reference(sg13cmos5l_fill_2_2, (29.28,11.34)))
write_data.add(gdstk.Reference(sg13cmos5l_fill_2_2, (12.48,3.78)))
write_data.add(gdstk.Reference(sg13cmos5l_fill_2_2, (10.56,11.34), x_reflection=True))
write_data.add(gdstk.Reference(sg13cmos5l_fill_2_2, (29.76,18.9), x_reflection=True))
write_data.add(gdstk.Reference(sg13cmos5l_decap_4_2, (28.32,3.78)))
write_data.add(gdstk.Reference(sg13cmos5l_decap_4_2, (15.84,18.9), x_reflection=True))
write_data.add(gdstk.Reference(sg13cmos5l_fill_1_2, (30.24,11.34)))
write_data.add(gdstk.Reference(sg13cmos5l_fill_1_2, (30.24,3.78)))
write_data.add(gdstk.Reference(sg13cmos5l_fill_1_2, (17.76,18.9), x_reflection=True))
write_data.add(gdstk.Reference(sg13cmos5l_fill_1_2, (30.24,11.34), x_reflection=True))
write_data.add(gdstk.Reference(sg13cmos5l_inv_8_1, (13.44,3.78)))
write_data.add(gdstk.Reference(sg13cmos5l_inv_8_1, (18.24,18.9), x_reflection=True))
write_data.add(gdstk.Reference(sg13cmos5l_buf_1_2, (3.84,3.78)))
write_data.add(gdstk.Reference(sg13cmos5l_buf_1_2, (3.84,18.9), x_reflection=True))
write_data.add(gdstk.Reference(sg13cmos5l_ebufn_8, (23.52,11.34), rotation=pi))
write_data.add(gdstk.Reference(sg13cmos5l_ebufn_8, (22.56,11.34), rotation=pi, x_reflection=True))
write_data.add(gdstk.Reference(via_via3_4_4000_440_1_10, (11.84,3.78)))
write_data.add(gdstk.Reference(via_via3_4_4000_440_1_10, (5.84,15.12)))
write_data.add(gdstk.Reference(via_via3_4_4000_440_1_10, (11.84,11.34)))
write_data.add(gdstk.Reference(via_via3_4_4000_440_1_10, (5.84,7.56)))
write_data.add(gdstk.Reference(via_via3_4_4000_440_1_10, (11.84,18.9)))
write_data.add(gdstk.Reference(via_via2_3_4000_440_1_10, (11.84,18.9)))
write_data.add(gdstk.Reference(via_via2_3_4000_440_1_10, (11.84,11.34)))
write_data.add(gdstk.Reference(via_via2_3_4000_440_1_10, (5.84,7.56)))
write_data.add(gdstk.Reference(via_via2_3_4000_440_1_10, (11.84,3.78)))
write_data.add(gdstk.Reference(via_via2_3_4000_440_1_10, (5.84,15.12)))
write_data.add(gdstk.Reference(via_via1_2_4000_440_1_10, (11.84,18.9)))
write_data.add(gdstk.Reference(via_via1_2_4000_440_1_10, (5.84,7.56)))
write_data.add(gdstk.Reference(via_via1_2_4000_440_1_10, (5.84,15.12)))
write_data.add(gdstk.Reference(via_via1_2_4000_440_1_10, (11.84,3.78)))
write_data.add(gdstk.Reference(via_via1_2_4000_440_1_10, (11.84,11.34)))
write_data.add(gdstk.Reference(via_via1_xy_2, (14.4,5.46)))
write_data.add(gdstk.Reference(via_via1_xy_2, (4.32,5.88)))
write_data.add(gdstk.Reference(via_via1_xy_2, (13.44,9.66)))
write_data.add(gdstk.Reference(via_via1_xy_2, (19.2,17.22)))
write_data.add(gdstk.Reference(via_via1_xy_2, (11.52,13.02)))
write_data.add(gdstk.Reference(via_via1_xy_2, (4.32,16.8)))
write_data.add(gdstk.Reference(via_via1_xy_2, (12.48,13.02)))
write_data.add(gdstk.Reference(via_via1_xy_2, (21.6,13.44)))
write_data.add(gdstk.Reference(via_via1_xy_2, (12.48,9.66)))
write_data.add(gdstk.Reference(via_via2_yx_2, (20.16,10.08)))
write_data.add(gdstk.Reference(via_via2_yx_2, (13.44,9.66)))
write_data.add(gdstk.Reference(via_via2_yx_2, (15.36,9.66)))
write_data.add(gdstk.Reference(via_via2_yx_2, (12.48,13.02)))
write_data.add(gdstk.Reference(via_via2_yx_2, (15.36,13.02)))
write_data.add(gdstk.Reference(via_via2_yx_2, (12.48,10.08)))
write_data.add(gdstk.Reference(via_via2_yx_2, (4.32,16.38)))
write_data.add(gdstk.Reference(via_via2_yx_2, (11.52,17.22)))
write_data.add(gdstk.Reference(via_via2_yx_2, (19.2,17.22)))
write_data.add(gdstk.Reference(via_via2_yx_2, (5.28,17.22)))
write_data.add(gdstk.Reference(via_via2_yx_2, (5.28,4.62)))
write_data.add(gdstk.Reference(via_via2_yx_2, (14.4,4.62)))
write_data.add(gdstk.Reference(via_via2_yx_2, (21.6,5.46)))
write_data.add(gdstk.Reference(via_via2_yx_2, (4.32,5.46)))
write_data.add(gdstk.Reference(via_via2_yx_2, (21.6,16.38)))
write_data.add(gdstk.Reference(via_via1_yy_2, (20.16,15.96)))
write_data.add(gdstk.Reference(via_via1_yy_2, (15.36,6.72)))
write_data.add(gdstk.Reference(via_via1_yy_2, (5.28,16.38)))
write_data.add(gdstk.Reference(via_via1_yy_2, (5.28,4.62)))
write_data.add(gdstk.Reference(via_via1_yy_2, (21.6,10.08)))
write_data.add(gdstk.Label('in_i', (0.2,16.38), layer=30, texttype=25))
write_data.add(gdstk.Label('out_no', (34.8,5.46), layer=30, texttype=25))
write_data.add(gdstk.Label('out_o', (34.8,16.38), layer=30, texttype=25))
write_data.add(gdstk.Label('we_i', (0.2,5.46), layer=30, texttype=25))
write_data.add(gdstk.Label('VGND', (11.84,11.34), layer=50, texttype=25))
write_data.add(gdstk.Label('VPWR', (5.84,11.34), layer=50, texttype=25))

lib.write_gds('write_data.gds')
